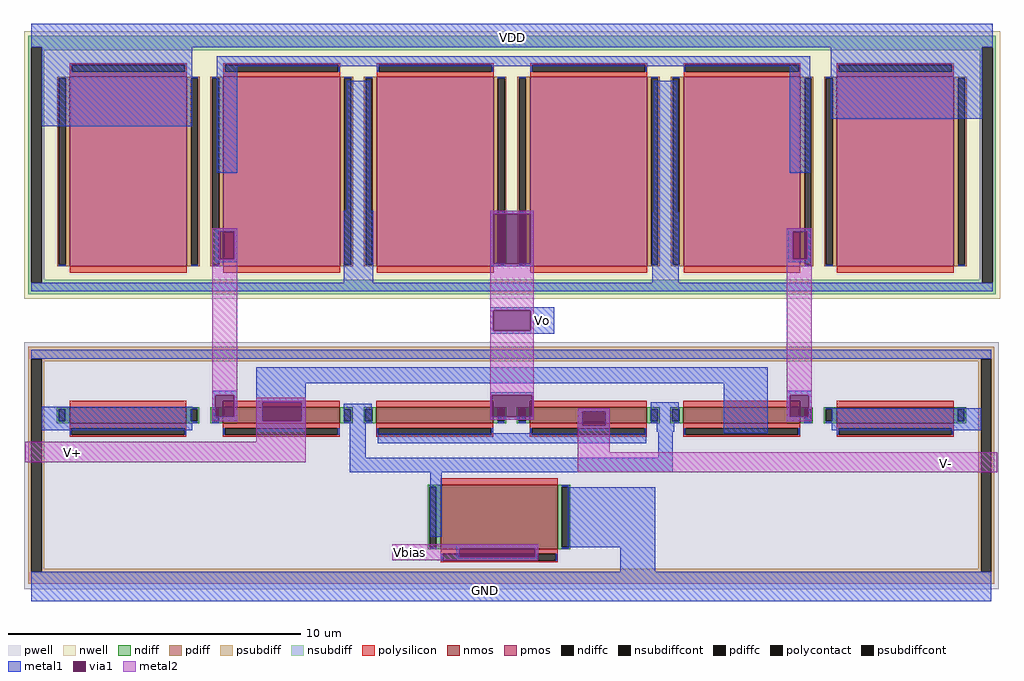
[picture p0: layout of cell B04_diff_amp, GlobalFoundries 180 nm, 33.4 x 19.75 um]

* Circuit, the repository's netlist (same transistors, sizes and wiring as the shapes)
** sch_path: /foss/designs/AURA-Event-Driven-Mixed-Signal-ASIC-for-Acoustic-Pattern-Detection/analog/B04_diff_amp.sch
.subckt B04_diff_amp VDD Vo V+ V- Vbias VSS
*.PININFO VDD:B VSS:B V+:I V-:I Vo:O Vbias:I
M1 net1 V+ net2 VSS nfet_03v3 L=4u W=0.55u nf=1 m=2
M2 net2 Vbias VSS VSS nfet_03v3 L=4u W=2.2u nf=1
M3 Vo V- net2 VSS nfet_03v3 L=4u W=0.55u nf=1 m=2
M4 Vo net1 VDD VDD pfet_03v3 L=4u W=6.5u nf=1 m=2
M5 net1 net1 VDD VDD pfet_03v3 L=4u W=6.5u nf=1 m=2
MDummy VDD VDD VDD VDD pfet_03v3 L=4u W=6.5u nf=1
MDummy1 VDD VDD VDD VDD pfet_03v3 L=4u W=6.5u nf=1
Mdummy2 VSS VSS VSS VSS nfet_03v3 L=4u W=0.55u nf=1
Mdummy3 VSS VSS VSS VSS nfet_03v3 L=4u W=0.55u nf=1
.ends

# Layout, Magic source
magic
tech gf180mcuD
magscale 1 10
<< nwell >>
rect -1560 -1170 5120 660
<< pwell >>
rect -1560 -3160 5110 -1470
<< psubdiff >>
rect -1530 -1580 5080 -1500
rect -1530 -3040 -1510 -1580
rect -1440 -1600 4990 -1580
rect -1440 -3020 -1420 -1600
rect 4970 -3020 4990 -1600
rect -1440 -3040 4990 -3020
rect 5060 -3040 5080 -1580
rect -1530 -3120 5080 -3040
<< nsubdiff >>
rect -1530 550 5090 630
rect -1530 -1060 -1510 550
rect -1440 530 5000 550
rect -1440 -1040 -1420 530
rect 4980 -1040 5000 530
rect -1440 -1060 5000 -1040
rect 5070 -1060 5090 550
rect -1530 -1140 5090 -1060
<< psubdiffcont >>
rect -1510 -3040 -1440 -1580
rect 4990 -3040 5060 -1580
<< nsubdiffcont >>
rect -1510 -1060 -1440 550
rect 5000 -1060 5070 550
<< metal1 >>
rect -1510 550 5070 710
rect -1440 10 -410 550
rect -240 420 3820 490
rect -240 -310 -100 420
rect 650 -570 810 320
rect -250 -710 -100 -690
rect -250 -900 -220 -710
rect -120 -900 -100 -710
rect -250 -920 -100 -900
rect 630 -1060 830 -570
rect 1630 -590 1930 -570
rect 2750 -580 2910 320
rect 3680 -310 3820 420
rect 3960 60 5000 550
rect 1630 -930 1650 -590
rect 1910 -930 1930 -590
rect 1630 -950 1930 -930
rect 2740 -1060 2920 -580
rect 3670 -710 3820 -690
rect 3670 -900 3700 -710
rect 3800 -900 3820 -710
rect 3670 -920 3820 -900
rect -1510 -1120 5070 -1060
rect 1630 -1250 2070 -1230
rect 1630 -1390 1650 -1250
rect 1910 -1390 2070 -1250
rect 1630 -1410 2070 -1390
rect -1510 -1580 5060 -1520
rect 30 -1750 3530 -1640
rect -270 -1830 -100 -1800
rect -1440 -2070 -410 -1910
rect -270 -1980 -250 -1830
rect -120 -1980 -100 -1830
rect -270 -2010 -100 -1980
rect 30 -1880 370 -1750
rect 30 -2010 70 -1880
rect 340 -2010 370 -1880
rect 1630 -1830 1930 -1810
rect 630 -2010 820 -1890
rect 1630 -1980 1640 -1830
rect 1920 -1980 1930 -1830
rect 1630 -2000 1930 -1980
rect 2230 -1940 2450 -1920
rect 30 -2080 370 -2010
rect 670 -2260 780 -2010
rect 2230 -2040 2260 -1940
rect 2420 -2040 2450 -1940
rect 2730 -2020 2920 -1880
rect 2230 -2070 2450 -2040
rect 2770 -2080 2890 -2020
rect 860 -2160 2700 -2090
rect 2780 -2260 2880 -2080
rect 3230 -2090 3530 -1750
rect 3660 -1830 3830 -1800
rect 3660 -1980 3680 -1830
rect 3810 -1980 3830 -1830
rect 3660 -2010 3830 -1980
rect 3970 -2070 4990 -1920
rect 670 -2360 2880 -2260
rect 1220 -2800 1300 -2360
rect 1400 -2880 1960 -2850
rect 2160 -2870 2760 -2460
rect 1400 -2940 1420 -2880
rect 1940 -2940 1960 -2880
rect 1400 -2960 1960 -2940
rect 2520 -3040 2760 -2870
rect -1510 -3240 5060 -3040
<< via1 >>
rect -220 -900 -120 -710
rect 1650 -930 1910 -590
rect 3700 -900 3800 -710
rect 1650 -1390 1910 -1250
rect -250 -1980 -120 -1830
rect 70 -2010 340 -1880
rect 1640 -1980 1920 -1830
rect 2260 -2040 2420 -1940
rect 3680 -1980 3810 -1830
rect 1420 -2940 1940 -2880
<< metal2 >>
rect 1630 -590 1930 -570
rect -270 -710 -100 -690
rect -270 -900 -220 -710
rect -120 -900 -100 -710
rect -270 -1830 -100 -900
rect -270 -1980 -250 -1830
rect -120 -1980 -100 -1830
rect 1630 -930 1650 -590
rect 1910 -930 1930 -590
rect 1630 -1250 1930 -930
rect 1630 -1390 1650 -1250
rect 1910 -1390 1930 -1250
rect 1630 -1830 1930 -1390
rect -270 -2010 -100 -1980
rect 30 -1880 370 -1850
rect 30 -2010 70 -1880
rect 340 -2010 370 -1880
rect 1630 -1980 1640 -1830
rect 1920 -1980 1930 -1830
rect 3660 -710 3830 -690
rect 3660 -900 3700 -710
rect 3800 -900 3830 -710
rect 3660 -1830 3830 -900
rect 1630 -2000 1930 -1980
rect 2230 -1940 2450 -1920
rect 30 -2150 370 -2010
rect -1550 -2290 370 -2150
rect 2230 -2040 2260 -1940
rect 2420 -2040 2450 -1940
rect 3660 -1980 3680 -1830
rect 3810 -1980 3830 -1830
rect 3660 -2010 3830 -1980
rect 2230 -2220 2450 -2040
rect 2230 -2360 5100 -2220
rect 960 -2880 1960 -2850
rect 960 -2940 1420 -2880
rect 1940 -2940 1960 -2880
rect 960 -2960 1960 -2940
use pfet_03v3_YNZBKP  dummy
transform 1 0 4404 0 1 -276
box -574 -804 574 804
use nfet_03v3_LT7U5F  nfet_03v3_LT7U5F_0
transform 1 0 -848 0 1 -1993
box -512 -147 512 147
use nfet_03v3_LT7U5F  nfet_03v3_LT7U5F_1
transform 1 0 4402 0 1 -1993
box -512 -147 512 147
use pfet_03v3_YNZBKP  pfet_03v3_YNZBKP_0
transform 1 0 -846 0 1 -276
box -574 -804 574 804
use nfet_03v3_LT7U5F  XM1_1
transform 1 0 202 0 1 -1993
box -512 -147 512 147
use nfet_03v3_LT7U5F  XM1_2
transform 1 0 3352 0 1 -1993
box -512 -147 512 147
use nfet_03v3_LPRCZE  XM2
transform 1 0 1692 0 1 -2688
box -512 -312 512 312
use nfet_03v3_LT7U5F  XM3_1
transform 1 0 1252 0 1 -1993
box -512 -147 512 147
use nfet_03v3_LT7U5F  XM3_2
transform 1 0 2302 0 1 -1993
box -512 -147 512 147
use pfet_03v3_YNZBKP  XM4_1
transform 1 0 1254 0 1 -276
box -574 -804 574 804
use pfet_03v3_YNZBKP  XM4_2
transform 1 0 2304 0 1 -276
box -574 -804 574 804
use pfet_03v3_YNZBKP  XM5_1
transform 1 0 204 0 1 -276
box -574 -804 574 804
use pfet_03v3_YNZBKP  XM5_2
transform 1 0 3354 0 1 -276
box -574 -804 574 804
<< labels >>
flabel metal1 1490 -3220 1710 -3120 0 FreeSans 800 0 0 0 GND
port 1 nsew
flabel metal1 1700 600 1870 640 0 FreeSans 800 0 0 0 VDD
port 0 nsew
flabel metal1 1910 -1410 2070 -1230 0 FreeSans 480 0 0 0 Vo
port 6 nsew
flabel metal2 1060 -2930 1100 -2890 0 FreeSans 640 0 0 0 Vbias
port 3 nsew
flabel metal2 -1270 -2240 -1190 -2200 0 FreeSans 640 0 0 0 V+
port 4 nsew
flabel metal2 4710 -2320 4790 -2280 0 FreeSans 640 0 0 0 V-
port 5 nsew
<< end >>

# cell pfet_03v3_YNZBKP: kit device pfet_03v3, w 6.5 l 4 m 1 nf 1 diffcov 100 polycov 100 guard 0 glc 0 grc 0 gtc 0 gbc 0 tbcov 100 rlcov 100 topc 1 botc 0 poverlap 0 doverlap 1 lmin 0.28 wmin 0.22 class mosfet full_metal 0 compatible {pfet_03v3 pfet_05v0 pfet_06v0}

# cell nfet_03v3_LT7U5F: kit device nfet_03v3, w 0.55 l 4 m 1 nf 1 diffcov 100 polycov 100 guard 0 glc 0 grc 0 gtc 0 gbc 0 tbcov 100 rlcov 100 topc 0 botc 1 poverlap 0 doverlap 1 lmin 0.28 wmin 0.22 class mosfet full_metal 0 compatible {nfet_03v3 nfet_05v0 nfet_06v0 nfet_06v0_nvt}

# cell nfet_03v3_LPRCZE: kit device nfet_03v3, w 2.2 l 4 m 1 nf 1 diffcov 100 polycov 100 guard 0 glc 0 grc 0 gtc 0 gbc 0 tbcov 100 rlcov 100 topc 0 botc 1 poverlap 0 doverlap 1 lmin 0.28 wmin 0.22 class mosfet full_metal 0 compatible {nfet_03v3 nfet_05v0 nfet_06v0 nfet_06v0_nvt}
